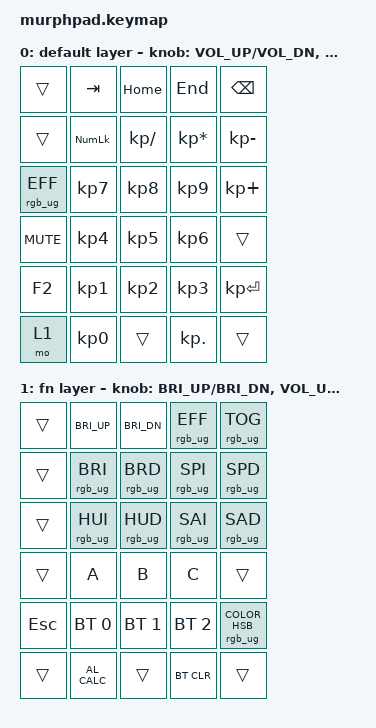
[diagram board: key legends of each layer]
/*
 * Copyright (c) 2021 The ZMK Contributors
 *
 * SPDX-License-Identifier: MIT
 */

#include <behaviors.dtsi>
#include <dt-bindings/zmk/keys.h>
#include <dt-bindings/zmk/bt.h>
#include <dt-bindings/zmk/rgb.h>


#define TIMEOUT 300

&encoder_1 {
	status = "okay";
};

&encoder_2 {
	status = "okay";
};

/ {
    combos {
        compatible = "zmk,combos";
        combo_btclr {
            timeout-ms = <TIMEOUT>;
            key-positions = <1 6>;
            bindings = <&bt BT_CLR>;
        };
        combo_reset {
            timeout-ms = <TIMEOUT>;
            key-positions = <1 3>;
            bindings = <&reset>;
        };
        combo_bootloader {
            timeout-ms = <TIMEOUT>;
            key-positions = <1 2>;
            bindings = <&bootloader>;
        };
        combo_bt_nxt {
            timeout-ms = <TIMEOUT>;
            key-positions = <1 4>;
            bindings = <&bt BT_NXT>;
        };
    };
	
	sensors {
		compatible = "zmk,keymap-sensors";
		sensors = <&encoder_1 &encoder_2>;
	};


	keymap0: keymap {
		compatible = "zmk,keymap";

		default_layer {
		label = "default layer";
// ---------------------------------
// |       | Tab | Hom | End | Bsp |
// |       -------------------------
// |       | Num |  /  |  *  |  -  |
// |       |  7  |  8  |  9  |  +  |
// | Knob  |  4  |  5  |  6  |     |
// |  F2   |  1  |  2  |  3  | Ent |
// | MO(1) |  0        |  .  |     |
// ---------------------------------
            bindings = <
                &trans		&kp TAB		&kp HOME	&kp END		&kp BSPC   
                &trans		&kp KP_NUM	&kp KP_DIVIDE	&kp KP_MULTIPLY	&kp KP_MINUS    
                &rgb_ug RGB_EFF	&kp KP_N7	&kp KP_N8	&kp KP_N9	&kp KP_PLUS   
                &kp C_MUTE	&kp KP_N4	&kp KP_N5	&kp KP_N6	&trans
                &kp F2		&kp KP_N1	&kp KP_N2	&kp KP_N3	&kp KP_ENTER
                &mo 1		&kp KP_N0	&trans		&kp KP_DOT	&trans
            >;
			sensor-bindings = <&inc_dec_kp C_VOL_UP C_VOL_DN &inc_dec_kp PG_UP PG_DN>;

        }; 
		
        fn_layer {
		label = "fn layer";
// ---------------------------------
// |       | Br+ | Br- | Ref | Rtg |
// |       -------------------------
// |       | RB+ | RB- | RS+ | RS- |
// |       | RH+ | RH- | RA+ | RA- |
// | Knob  |  5  |  6  |  7  |     |
// |  ESC  | Bt1 | Bt2 | Bt3 | Ent |
// | MO(1) | Calc      |Btclr|     |
// ---------------------------------
            bindings = <
                &trans		&kp C_BRI_UP	&kp C_BRI_DN	&rgb_ug RGB_EFF	&rgb_ug RGB_TOG
                &trans		&rgb_ug RGB_BRI	&rgb_ug RGB_BRD	&rgb_ug RGB_SPI	&rgb_ug RGB_SPD
                &trans		&rgb_ug RGB_HUI	&rgb_ug RGB_HUD	&rgb_ug RGB_SAI	&rgb_ug RGB_SAD
                &trans		&kp A       	&kp B		&kp C		&trans
                &kp ESC		&bt BT_SEL 0	&bt BT_SEL 1	&bt BT_SEL 2	&rgb_ug RGB_COLOR_HSB(139,87,72)
                &trans		&kp C_AL_CALC	&trans		&bt BT_CLR	&trans
            >;  
			sensor-bindings = <&inc_dec_kp C_BRI_UP C_BRI_DN &inc_dec_kp C_VOL_UP C_VOL_DN>;
                
        };
    };
};
